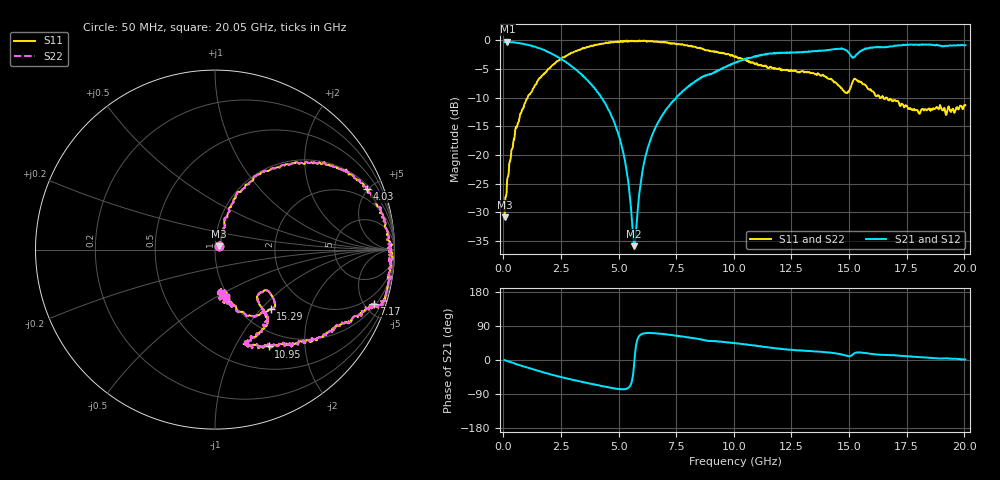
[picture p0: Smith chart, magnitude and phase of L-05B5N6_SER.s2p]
! P/N: L-05C5N6_SER
! Measured by Marlon
! Sep. 23, 2003
! Measure with a Series-through-fixture
#	mhz	s	ma	r	50
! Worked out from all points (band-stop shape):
!   1001 points, 50 MHz to 20.05 GHz, reference 50 ohm
!   highest |S21| = -0.25 dB at 170 MHz (marker M1); lowest = -35.9 dB at 5.67 GHz (marker M2)
!   |S21| within 3 dB of the highest: start of sweep to 2.487 GHz; 10.59 GHz to end of sweep (the widest 2 of 3)
!   lowest |S11| = -30.8 dB at 50 MHz (marker M3), VSWR 1.06, Z = 52.3 + j1.81 ohm
!   |S11| at or under -10 dB: start of sweep to 1.051 GHz; 16.49 GHz to 16.6 GHz (115.7 MHz wide, 0.699 % of centre); 16.64 GHz to end of sweep (the widest 3 of 4)
!   |S22| runs from -30.8 to -0.1 dB; largest |S21 - S12| = 0
!   S11 on the Smith chart (normalised r, x): 50 MHz: 1.05, +0.04; 4.03 GHz: 1.25, +4.88; 7.17 GHz: 1.21, -5.79; 10.95 GHz: 0.79, -1.38; 15.29 GHz: 1.35, -1.14; 20.05 GHz: 0.97, -0.56
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50  0.02868 37.2  0.9633 -0.3  0.9633 -0.3  0.02868 37.2
170  0.06284 56.3  0.9719 -3.1  0.9719 -3.1  0.06284 56.3
530  0.1724 72.0  0.9526 -10.6  0.9526 -10.6  0.1724 72.0
1030  0.3113 68.0  0.9127 -19.8  0.9127 -19.8  0.3113 68.0
2150  0.6076 50.4  0.7524 -39.6  0.7524 -39.6  0.6076 50.4
3390  0.8388 31.7  0.503 -57.6  0.503 -57.6  0.8388 31.7
4030  0.9095 21.8  0.3654 -65.8  0.3654 -65.8  0.9095 21.8
5110  0.9864 1.7  0.1255 -76.7  0.1255 -76.7  0.9864 1.7
5370  0.973 -3.3  0.06769 -75.2  0.06769 -75.2  0.973 -3.3
5670  0.9758 -6.1  0.01609 -12.0  0.01609 -12.0  0.9758 -6.1
6110  0.9926 -16.8  0.08692 70.2  0.08692 70.2  0.9926 -16.8
6730  0.9668 -19.3  0.1961 69.4  0.1961 69.4  0.9668 -19.3
7170  0.9348 -18.8  0.2641 67.1  0.2641 67.1  0.9348 -18.8
10050  0.7138 -45.7  0.6357 44.4  0.6357 44.4  0.7138 -45.7
10950  0.6168 -61.0  0.7169 37.1  0.7169 37.1  0.6168 -61.0
12150  0.5494 -72.2  0.7748 28.8  0.7748 28.8  0.5494 -72.2
13390  0.5165 -58.9  0.7994 23.2  0.7994 23.2  0.5165 -58.9
14890  0.3468 -45.7  0.8119 11.1  0.8119 11.1  0.3468 -45.7
15290  0.455 -46.9  0.7363 19.6  0.7363 19.6  0.455 -46.9
16730  0.2991 -75.9  0.8779 13.0  0.8779 13.0  0.2991 -75.9
18010  0.2364 -80.8  0.9146 7.9  0.9146 7.9  0.2364 -80.8
20050  0.271 -76.9  0.9033 1.4  0.9033 1.4  0.271 -76.9
